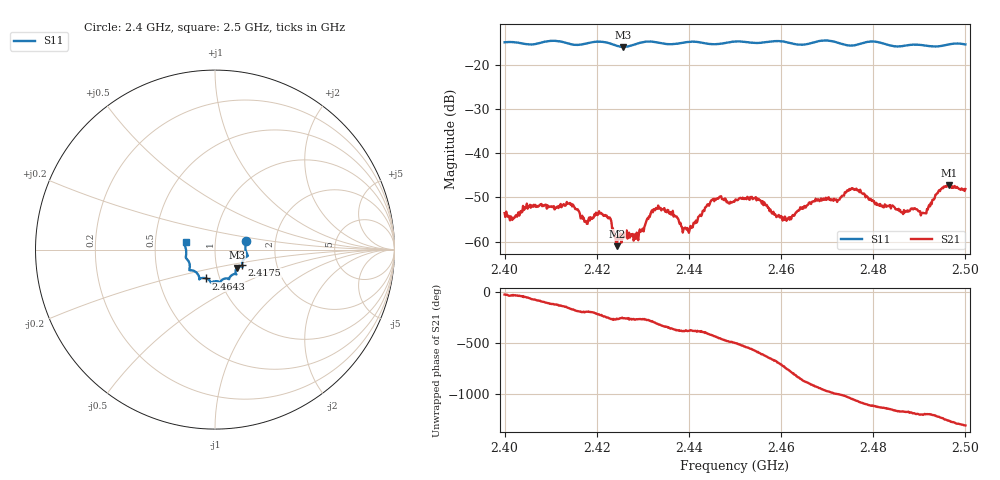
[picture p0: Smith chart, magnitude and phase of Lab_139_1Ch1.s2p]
# Hz S RI R 50
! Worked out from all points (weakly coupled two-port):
!   601 points, 2.4 GHz to 2.5 GHz, reference 50 ohm
!   highest |S21| = -47.20 dB at 2.4965 GHz (marker M1); lowest = -61.0 dB at 2.4243 GHz (marker M2)
!   lowest |S11| = -16.0 dB at 2.4257 GHz (marker M3), VSWR 1.38, Z = 62.5 - j13 ohm
!   |S11| at or under -10 dB: start of sweep to end of sweep
!   S12 and S22 are empty: the file has one direction only
!   S11 on the Smith chart (normalised r, x): 2.4 GHz: 1.41, +0.14; 2.4175 GHz: 1.33, -0.23; 2.4643 GHz: 0.86, -0.29; 2.5 GHz: 0.72, +0.06
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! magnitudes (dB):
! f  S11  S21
! 2.4 GHz  -14.9  -53.6
! 2.414 GHz  -15.3  -51.4
! 2.4167 GHz  -15.4  -54.7
! 2.4175 GHz  -15.3  -55.4
! 2.4223 GHz  -15.0  -54.6
! 2.4243 GHz  -15.7  -61.0
! 2.4257 GHz  -16.0  -59.3
! 2.4285 GHz  -15.3  -59.4
! 2.4333 GHz  -15.0  -51.9
! 2.4397 GHz  -14.9  -56.9
! 2.4452 GHz  -15.4  -50.4
! 2.45 GHz  -14.8  -50.7
! 2.4548 GHz  -15.1  -50.2
! 2.4608 GHz  -14.8  -54.3
! 2.4643 GHz  -15.5  -52.3
! 2.4667 GHz  -15.1  -51.0
! 2.4722 GHz  -15.0  -51.1
! 2.4758 GHz  -15.6  -48.3
! 2.4833 GHz  -15.6  -51.9
! 2.4908 GHz  -15.6  -53.5
! 2.4965 GHz  -15.4  -47.2
! 2.5 GHz  -15.4  -48.1
